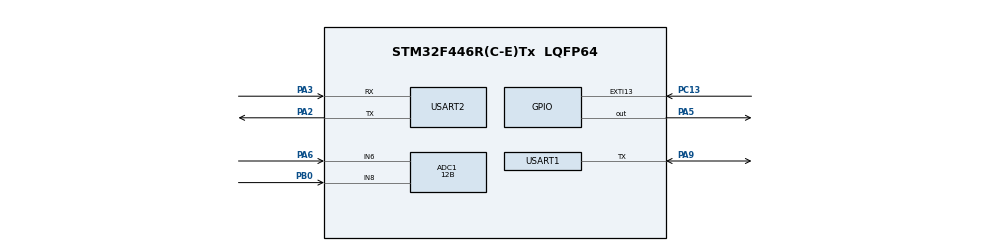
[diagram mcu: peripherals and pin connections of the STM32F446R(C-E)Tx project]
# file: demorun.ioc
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ADC1.Channel-0\#ChannelRegularConversion=ADC_CHANNEL_6
ADC1.Channel-1\#ChannelRegularConversion=ADC_CHANNEL_8
ADC1.ClockPrescaler=ADC_CLOCK_SYNC_PCLK_DIV8
ADC1.ContinuousConvMode=ENABLE
ADC1.DMAContinuousRequests=ENABLE
ADC1.EOCSelection=ADC_EOC_SINGLE_CONV
ADC1.NbrOfConversion=2
ADC1.NbrOfConversionFlag=1
ADC1.Rank-0\#ChannelRegularConversion=1
ADC1.Rank-1\#ChannelRegularConversion=2
ADC1.Resolution=ADC_RESOLUTION_12B
ADC1.SamplingTime-0\#ChannelRegularConversion=ADC_SAMPLETIME_84CYCLES
ADC1.SamplingTime-1\#ChannelRegularConversion=ADC_SAMPLETIME_84CYCLES
ADC1.ScanConvMode=ENABLE
ADC1.master=1
Dma.ADC1.0.Direction=DMA_PERIPH_TO_MEMORY
Dma.ADC1.0.FIFOMode=DMA_FIFOMODE_DISABLE
Dma.ADC1.0.Instance=DMA2_Stream0
Dma.ADC1.0.MemDataAlignment=DMA_MDATAALIGN_HALFWORD
Dma.ADC1.0.MemInc=DMA_MINC_ENABLE
Dma.ADC1.0.Mode=DMA_CIRCULAR
Dma.ADC1.0.PeriphDataAlignment=DMA_PDATAALIGN_HALFWORD
Dma.ADC1.0.PeriphInc=DMA_PINC_DISABLE
Dma.ADC1.0.Priority=DMA_PRIORITY_LOW
Dma.Request0=ADC1
Dma.Request1=USART1_RX
Dma.Request2=USART1_TX
Dma.USART1_RX.1.Direction=DMA_PERIPH_TO_MEMORY
Dma.USART1_RX.1.FIFOMode=DMA_FIFOMODE_DISABLE
Dma.USART1_RX.1.Instance=DMA2_Stream2
Dma.USART1_RX.1.MemDataAlignment=DMA_MDATAALIGN_BYTE
Dma.USART1_RX.1.MemInc=DMA_MINC_ENABLE
Dma.USART1_RX.1.Mode=DMA_NORMAL
Dma.USART1_RX.1.PeriphDataAlignment=DMA_PDATAALIGN_BYTE
Dma.USART1_RX.1.PeriphInc=DMA_PINC_DISABLE
Dma.USART1_RX.1.Priority=DMA_PRIORITY_LOW
Dma.USART1_TX.2.Direction=DMA_MEMORY_TO_PERIPH
Dma.USART1_TX.2.FIFOMode=DMA_FIFOMODE_DISABLE
Dma.USART1_TX.2.Instance=DMA2_Stream7
Dma.USART1_TX.2.MemDataAlignment=DMA_MDATAALIGN_BYTE
Dma.USART1_TX.2.MemInc=DMA_MINC_ENABLE
Dma.USART1_TX.2.Mode=DMA_NORMAL
Dma.USART1_TX.2.PeriphDataAlignment=DMA_PDATAALIGN_BYTE
Dma.USART1_TX.2.PeriphInc=DMA_PINC_DISABLE
Dma.USART1_TX.2.Priority=DMA_PRIORITY_LOW
Mcu.Family=STM32F4
Mcu.Name=STM32F446R(C-E)Tx
Mcu.Package=LQFP64
NVIC.ADC_IRQn=true\:0\:0\:false\:false\:true\:true\:true\:true
NVIC.DMA2_Stream0_IRQn=true\:0\:0\:false\:false\:true\:false\:true\:true
NVIC.DMA2_Stream2_IRQn=true\:0\:0\:false\:false\:true\:false\:true\:true
NVIC.DMA2_Stream7_IRQn=true\:0\:0\:false\:false\:true\:false\:true\:true
NVIC.EXTI15_10_IRQn=true\:0\:0\:false\:false\:true\:true\:true\:true
NVIC.PriorityGroup=NVIC_PRIORITYGROUP_4
NVIC.USART1_IRQn=true\:0\:0\:false\:false\:true\:true\:true\:true
PA13.Mode=Serial_Wire
PA13.Signal=SYS_JTMS-SWDIO
PA14.Mode=Serial_Wire
PA14.Signal=SYS_JTCK-SWCLK
PA2.Mode=Asynchronous
PA2.Signal=USART2_TX
PA3.Mode=Asynchronous
PA3.Signal=USART2_RX
PA5.Signal=GPIO_Output
PA6.Signal=ADCx_IN6
PA9.Mode=Half_duplex(single_wire_mode)
PA9.Signal=USART1_TX
PB0.Signal=ADCx_IN8
PC13.GPIO_ModeDefaultEXTI=GPIO_MODE_IT_FALLING
PC13.Signal=GPXTI13
ProjectManager.HeapSize=0x200
ProjectManager.StackSize=0x400
ProjectManager.TargetToolchain=STM32CubeIDE
RCC.CortexFreq_Value=16000000
RCC.USBFreq_Value=96000000
RCC.VCOOutputFreq_Value=192000000
SH.ADCx_IN6.0=ADC1_IN6,IN6
SH.ADCx_IN8.0=ADC1_IN8,IN8
USART1.VirtualMode=VM_ASYNC
USART2.VirtualMode=VM_ASYNC
board=custom

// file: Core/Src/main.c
/* USER CODE BEGIN Header */
/**
  ******************************************************************************
  * @file           : main.c
  * @brief          : Main program body
  ******************************************************************************
  * @attention
  *
  * Copyright (c) 2025 STMicroelectronics.
  * All rights reserved.
  *
  * This software is licensed under terms that can be found in the LICENSE file
  * in the root directory of this software component.
  * If no LICENSE file comes with this software, it is provided AS-IS.
  *
  ******************************************************************************
  */
/* USER CODE END Header */
#include "main.h"

/* USER CODE BEGIN Includes */
#include <string.h>
#include <stdio.h>
#include <math.h>
/* USER CODE END Includes */

ADC_HandleTypeDef hadc1;
DMA_HandleTypeDef hdma_adc1;

UART_HandleTypeDef huart1;
UART_HandleTypeDef huart2;
DMA_HandleTypeDef hdma_usart1_rx;
DMA_HandleTypeDef hdma_usart1_tx;

/* USER CODE BEGIN PV */

uint8_t adcRunning = 0;
uint16_t adc_buffer[2];
int presence =0, isRxed=0;
uint8_t RxData[8], Temp_LSB=0, Temp_MSB=0;
float Temperature;
uint16_t Temp;
float VoMeasured = 0.0;
float calcVoltage = 0.0;
float dustDensity = 0.0;

const int samplingTime = 1;   // Approximation of 280 µs (rounded to 1 ms)
const int deltaTime    = 1;   // Approximation of 40 µs (rounded to 1 ms)
const int sleepTime    = 10;  // Approximation of 9.86 ms (rounded to 10 ms)
#define RL 10.0   // Load resistance in kΩ (typically 10kΩ)
#define RO_CLEAN_AIR 9.83  // Sensor resistance in clean air (calibration needed)
float adc_value, rs, ratio, ppm;
/* USER CODE END PV */

void SystemClock_Config(void);
static void MX_GPIO_Init(void);
static void MX_DMA_Init(void);
static void MX_USART2_UART_Init(void);
static void MX_ADC1_Init(void);
static void MX_USART1_UART_Init(void);

/* USER CODE BEGIN 0 */

int __io_putchar(int ch)
{
    HAL_UART_Transmit(&huart2, (uint8_t *)&ch, 1, HAL_MAX_DELAY);
    return ch;
}

float Read_MQ135(void)
{
    uint32_t sum = 0;
    for (int i = 0; i < 10; i++)
    {

        sum += adc_buffer[1];
        HAL_Delay(10);
    }
    return (float)sum / 10.0f;
}

float Get_Rs(float adc_value)
{
    float Vrl = (adc_value / 4095.0f) * 3.3f;
    return (3.3f - Vrl) * RL / Vrl; // in kΩ
}

float Get_PPM(float ratio)
{
    // Approx. curve for CO2 (you can change constants for NH3, benzene, etc.)
    float a = 116.6020682;
    float b = -2.769034857;
    return a * pow(ratio, b);
}

void uart_Init (uint32_t baud)
{
	huart1.Instance = USART1;
	  huart1.Init.BaudRate = baud;
	  huart1.Init.WordLength = UART_WORDLENGTH_8B;
	  huart1.Init.StopBits = UART_STOPBITS_1;
	  huart1.Init.Parity = UART_PARITY_NONE;
	  huart1.Init.Mode = UART_MODE_TX_RX;
	  huart1.Init.HwFlowCtl = UART_HWCONTROL_NONE;
	  huart1.Init.OverSampling = UART_OVERSAMPLING_16;
	  if (HAL_HalfDuplex_Init(&huart1) != HAL_OK)
	  {
	    Error_Handler();
	  }
}

void DS18B20_write(uint8_t data)
{
    uint8_t buffer[8];
    for (int i = 0; i < 8; i++)
    {
        if (data & (1 << i))  // check i-th bit
            buffer[i] = 0xFF;
        else
            buffer[i] = 0x00;
    }
    HAL_UART_Transmit(&huart1, buffer, 8, 100);
}

uint8_t DS18B20_Read(void)
{
    uint8_t buffer[8];
    uint8_t value = 0;

    for (int i = 0; i < 8; i++)
        buffer[i] = 0xFF;

    isRxed = 0;
    HAL_UART_Receive_DMA(&huart1, RxData, 8);  // start DMA receive
    HAL_UART_Transmit(&huart1, buffer, 8, 100); // send read slots

    while (isRxed == 0); // wait for DMA complete

    for (int i = 0; i < 8; i++)
    {
        if (RxData[i] == 0xFF)
            value |= (1 << i);
    }

    return value;
}

int DS18B20_start(void)
{
    uint8_t data = 0xF0;

    uart_Init(9600);                   // 9600 baud for reset pulse
    HAL_UART_Transmit(&huart1, &data, 1, 100);

    if (HAL_UART_Receive(&huart1, &data, 1, 100) != HAL_OK)
        return -1;

    uart_Init(115200);                 // back to 115200 baud

    if (data == 0xF0) return -2;       // no presence pulse
    return 1;
}

void HAL_UART_RxCpltCallback(UART_HandleTypeDef *huart)
{
	isRxed =1;
}

void HAL_GPIO_EXTI_Callback(uint16_t GPIO_Pin)
{

	if(GPIO_Pin == GPIO_PIN_13)
	{
		HAL_GPIO_TogglePin(GPIOA,GPIO_PIN_5);
		adcRunning ^= 1;
		if (adcRunning){
			memset(adc_buffer, 0, sizeof(adc_buffer));
			HAL_ADC_Start_DMA(&hadc1,adc_buffer,2);

		}
		else{
			HAL_ADC_Stop_DMA(&hadc1);
		}
	}
}
//void HAL_ADC_ConvCpltCallback(ADC_HandleTypeDef* hadc)
//{
  //  if (hadc->Instance == ADC1)
    //{
      //  printf("ADC Values(PA6,PA7,PB0): %d, %d, %d\r\n",adc_buffer[0], adc_buffer[1], adc_buffer[2]);
    //}
//}

/* USER CODE END 0 */

int main(void)
{

  /* MCU Configuration--------------------------------------------------------*/

  /* Reset of all peripherals, Initializes the Flash interface and the Systick. */
  HAL_Init();

  /* Configure the system clock */
  SystemClock_Config();

  /* Initialize all configured peripherals */
  MX_GPIO_Init();
  MX_DMA_Init();
  MX_USART2_UART_Init();
  MX_ADC1_Init();
  MX_USART1_UART_Init();

  /* Infinite loop */
  while (1)
  {

    /* USER CODE BEGIN 3 */
	 if(!adcRunning)
	 {
		 presence =DS18B20_start();
		 	  		            	  DS18B20_write(0xCC);
		 	  		            	  DS18B20_write(0x44);

		 	  		            	  presence =DS18B20_start();
		 	  		            	  DS18B20_write(0xCC);
		 	  		            	  DS18B20_write(0xBE);
		 	  		            	//HAL_GPIO_TogglePin(GPIOA,GPIO_PIN_5);
		 	  		            	  Temp_LSB=DS18B20_Read();
		 	  		            	  Temp_MSB=DS18B20_Read();
		 	  		            	//HAL_GPIO_TogglePin(GPIOA,GPIO_PIN_5);
		 	  		            	  Temp= Temp_MSB<<8 | Temp_LSB;
		 	  		            	  Temperature =(float)Temp/16.0;
		 	  		            	  HAL_Delay(500);
		 	  		            	  printf("temperature:%f c\r\n",Temperature);

	 }
	 if (adcRunning)
	 		        {
		 	 	 	   HAL_GPIO_WritePin(GPIOA, GPIO_PIN_5, GPIO_PIN_RESET);
		               HAL_Delay(samplingTime);
		               uint16_t adcVal = adc_buffer[0];
		               HAL_Delay(deltaTime);
		               HAL_GPIO_WritePin(GPIOA, GPIO_PIN_5, GPIO_PIN_SET); // LED OFF
		               HAL_Delay(sleepTime);

		               VoMeasured = (float)adcVal;
		               calcVoltage = VoMeasured * (5.0f / 4096.0f);
		               dustDensity = 150.0f * calcVoltage - 50.0f;
		               adc_value = Read_MQ135(); // Read ADC value (0–4095)
		               rs = Get_Rs(adc_value);
		               ratio = rs / RO_CLEAN_AIR;
		               ppm = Get_PPM(ratio);
	 		           printf("ADC Values: [PA6]Dust Density: %f ug/m3 [PB0] %f   %d   bb %d \r\n",dustDensity,ppm,adc_buffer[0],adc_buffer[1]);
	 		           HAL_Delay(400);
	 		        }
  }
  /* USER CODE END 3 */
}

void SystemClock_Config(void)
{
  RCC_OscInitTypeDef RCC_OscInitStruct = {0};
  RCC_ClkInitTypeDef RCC_ClkInitStruct = {0};

  /** Configure the main internal regulator output voltage
  */
  __HAL_RCC_PWR_CLK_ENABLE();
  __HAL_PWR_VOLTAGESCALING_CONFIG(PWR_REGULATOR_VOLTAGE_SCALE3);

  /** Initializes the RCC Oscillators according to the specified parameters
  * in the RCC_OscInitTypeDef structure.
  */
  RCC_OscInitStruct.OscillatorType = RCC_OSCILLATORTYPE_HSI;
  RCC_OscInitStruct.HSIState = RCC_HSI_ON;
  RCC_OscInitStruct.HSICalibrationValue = RCC_HSICALIBRATION_DEFAULT;
  RCC_OscInitStruct.PLL.PLLState = RCC_PLL_NONE;
  if (HAL_RCC_OscConfig(&RCC_OscInitStruct) != HAL_OK)
  {
    Error_Handler();
  }

  /** Initializes the CPU, AHB and APB buses clocks
  */
  RCC_ClkInitStruct.ClockType = RCC_CLOCKTYPE_HCLK|RCC_CLOCKTYPE_SYSCLK
                              |RCC_CLOCKTYPE_PCLK1|RCC_CLOCKTYPE_PCLK2;
  RCC_ClkInitStruct.SYSCLKSource = RCC_SYSCLKSOURCE_HSI;
  RCC_ClkInitStruct.AHBCLKDivider = RCC_SYSCLK_DIV1;
  RCC_ClkInitStruct.APB1CLKDivider = RCC_HCLK_DIV1;
  RCC_ClkInitStruct.APB2CLKDivider = RCC_HCLK_DIV1;

  if (HAL_RCC_ClockConfig(&RCC_ClkInitStruct, FLASH_LATENCY_0) != HAL_OK)
  {
    Error_Handler();
  }
}

static void MX_ADC1_Init(void)
{

  ADC_ChannelConfTypeDef sConfig = {0};

  /** Configure the global features of the ADC (Clock, Resolution, Data Alignment and number of conversion)
  */
  hadc1.Instance = ADC1;
  hadc1.Init.ClockPrescaler = ADC_CLOCK_SYNC_PCLK_DIV8;
  hadc1.Init.Resolution = ADC_RESOLUTION_12B;
  hadc1.Init.ScanConvMode = ENABLE;
  hadc1.Init.ContinuousConvMode = ENABLE;
  hadc1.Init.DiscontinuousConvMode = DISABLE;
  hadc1.Init.ExternalTrigConvEdge = ADC_EXTERNALTRIGCONVEDGE_NONE;
  hadc1.Init.ExternalTrigConv = ADC_SOFTWARE_START;
  hadc1.Init.DataAlign = ADC_DATAALIGN_RIGHT;
  hadc1.Init.NbrOfConversion = 2;
  hadc1.Init.DMAContinuousRequests = ENABLE;
  hadc1.Init.EOCSelection = ADC_EOC_SINGLE_CONV;
  if (HAL_ADC_Init(&hadc1) != HAL_OK)
  {
    Error_Handler();
  }

  /** Configure for the selected ADC regular channel its corresponding rank in the sequencer and its sample time.
  */
  sConfig.Channel = ADC_CHANNEL_6;
  sConfig.Rank = 1;
  sConfig.SamplingTime = ADC_SAMPLETIME_84CYCLES;
  if (HAL_ADC_ConfigChannel(&hadc1, &sConfig) != HAL_OK)
  {
    Error_Handler();
  }

  /** Configure for the selected ADC regular channel its corresponding rank in the sequencer and its sample time.
  */
  sConfig.Channel = ADC_CHANNEL_8;
  sConfig.Rank = 2;
  if (HAL_ADC_ConfigChannel(&hadc1, &sConfig) != HAL_OK)
  {
    Error_Handler();
  }

}

static void MX_USART1_UART_Init(void)
{

  huart1.Instance = USART1;
  huart1.Init.BaudRate = 115200;
  huart1.Init.WordLength = UART_WORDLENGTH_8B;
  huart1.Init.StopBits = UART_STOPBITS_1;
  huart1.Init.Parity = UART_PARITY_NONE;
  huart1.Init.Mode = UART_MODE_TX_RX;
  huart1.Init.HwFlowCtl = UART_HWCONTROL_NONE;
  huart1.Init.OverSampling = UART_OVERSAMPLING_16;
  if (HAL_HalfDuplex_Init(&huart1) != HAL_OK)
  {
    Error_Handler();
  }

}

static void MX_USART2_UART_Init(void)
{

  huart2.Instance = USART2;
  huart2.Init.BaudRate = 115200;
  huart2.Init.WordLength = UART_WORDLENGTH_8B;
  huart2.Init.StopBits = UART_STOPBITS_1;
  huart2.Init.Parity = UART_PARITY_NONE;
  huart2.Init.Mode = UART_MODE_TX_RX;
  huart2.Init.HwFlowCtl = UART_HWCONTROL_NONE;
  huart2.Init.OverSampling = UART_OVERSAMPLING_16;
  if (HAL_UART_Init(&huart2) != HAL_OK)
  {
    Error_Handler();
  }

}

static void MX_DMA_Init(void)
{

  /* DMA controller clock enable */
  __HAL_RCC_DMA2_CLK_ENABLE();

  /* DMA interrupt init */
  /* DMA2_Stream0_IRQn interrupt configuration */
  HAL_NVIC_SetPriority(DMA2_Stream0_IRQn, 0, 0);
  HAL_NVIC_EnableIRQ(DMA2_Stream0_IRQn);
  /* DMA2_Stream2_IRQn interrupt configuration */
  HAL_NVIC_SetPriority(DMA2_Stream2_IRQn, 0, 0);
  HAL_NVIC_EnableIRQ(DMA2_Stream2_IRQn);
  /* DMA2_Stream7_IRQn interrupt configuration */
  HAL_NVIC_SetPriority(DMA2_Stream7_IRQn, 0, 0);
  HAL_NVIC_EnableIRQ(DMA2_Stream7_IRQn);

}

static void MX_GPIO_Init(void)
{
  GPIO_InitTypeDef GPIO_InitStruct = {0};

  /* GPIO Ports Clock Enable */
  __HAL_RCC_GPIOC_CLK_ENABLE();
  __HAL_RCC_GPIOA_CLK_ENABLE();
  __HAL_RCC_GPIOB_CLK_ENABLE();

  /*Configure GPIO pin Output Level */
  HAL_GPIO_WritePin(GPIOA, GPIO_PIN_5, GPIO_PIN_RESET);

  /*Configure GPIO pin : PC13 */
  GPIO_InitStruct.Pin = GPIO_PIN_13;
  GPIO_InitStruct.Mode = GPIO_MODE_IT_FALLING;
  GPIO_InitStruct.Pull = GPIO_NOPULL;
  HAL_GPIO_Init(GPIOC, &GPIO_InitStruct);

  /*Configure GPIO pin : PA5 */
  GPIO_InitStruct.Pin = GPIO_PIN_5;
  GPIO_InitStruct.Mode = GPIO_MODE_OUTPUT_PP;
  GPIO_InitStruct.Pull = GPIO_NOPULL;
  GPIO_InitStruct.Speed = GPIO_SPEED_FREQ_LOW;
  HAL_GPIO_Init(GPIOA, &GPIO_InitStruct);

  /* EXTI interrupt init*/
  HAL_NVIC_SetPriority(EXTI15_10_IRQn, 0, 0);
  HAL_NVIC_EnableIRQ(EXTI15_10_IRQn);

}

void Error_Handler(void)
{
  __disable_irq();
  while (1)
  {
  }
}
